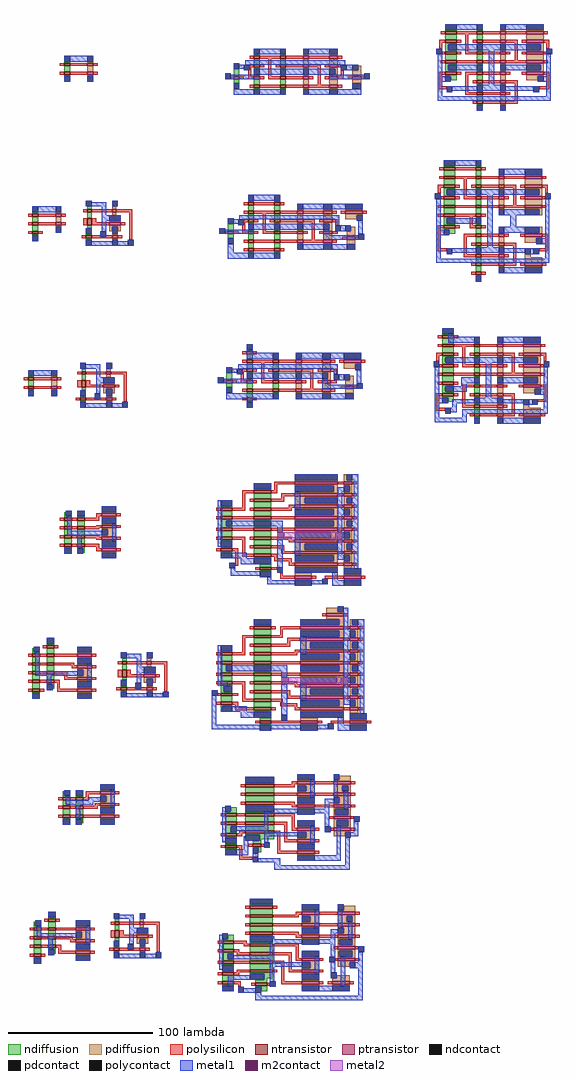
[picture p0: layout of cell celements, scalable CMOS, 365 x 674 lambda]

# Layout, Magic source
magic
tech scmos
use s_c2 s_c2_0
transform 1 0 92 0 1 -257
box -87 290 -59 310
use m_c2 m_c2_0
transform 1 0 241 0 1 -301
box -122 325 -20 359
use l_c2 l_c2_0
transform 1 0 291 0 1 1
box -25 12 55 74
use s_c2_rhi s_c2_rhi_0
transform 1 0 11 0 1 -139
box -28 60 46 91
use m_c2_rhi m_c2_rhi_0
transform 1 0 155 0 1 -99
box -40 10 64 56
use l_c2_rhi l_c2_rhi_0
transform 1 0 187 0 1 -79
box 78 -26 158 60
use s_c2_phi s_c2_phi_0
transform 1 0 -22 0 1 -266
box 2 75 75 106
use m_c2_phi m_c2_phi_0
transform 1 0 124 0 1 -211
box -10 19 94 65
use l_c2_phi l_c2_phi_0
transform 1 0 155 0 1 -277
box 109 74 189 142
use s_2and2c2 s_2and2c2_0
transform 1 0 54 0 1 -394
box -50 98 -5 136
use m_2and2c2 m_2and2c2_0
transform 1 0 112 0 1 -350
box 2 36 106 114
use s_2and2c2_rhi s_2and2c2_rhi_0
transform 1 0 36 0 1 -488
box -53 94 45 139
use m_2and2c2_rhi m_2and2c2_rhi_0
transform 1 0 116 0 1 -450
box -6 35 106 122
use s_and2c2 s_and2c2_0
transform 1 0 66 0 1 -1052
box -64 572 -18 602
use m_and2c2 m_and2c2_0
transform 1 0 112 0 1 -561
box 5 50 101 118
use s_and2c2_rhi s_and2c2_rhi_0
transform 1 0 49 0 1 -1146
box -65 570 27 608
use m_and2c2_rhi m_and2c2_rhi_0
transform 1 0 116 0 1 -651
box -2 50 100 122
<< end >>

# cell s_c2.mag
magic
tech scmos
<< ndiffusion >>
rect -83 304 -79 305
rect -83 298 -79 302
rect -83 295 -79 296
<< pdiffusion >>
rect -67 304 -63 305
rect -67 298 -63 302
rect -67 295 -63 296
<< ntransistor >>
rect -83 302 -79 304
rect -83 296 -79 298
<< ptransistor >>
rect -67 302 -63 304
rect -67 296 -63 298
<< polysilicon >>
rect -86 302 -83 304
rect -79 302 -67 304
rect -63 302 -60 304
rect -86 296 -83 298
rect -79 296 -67 298
rect -63 296 -60 298
<< ndcontact >>
rect -83 305 -79 309
rect -83 291 -79 295
<< pdcontact >>
rect -67 305 -63 309
rect -67 291 -63 295
<< metal1 >>
rect -83 305 -63 309
rect -83 291 -79 295
rect -67 291 -63 295
<< labels >>
rlabel polysilicon -84 297 -84 297 3 a
rlabel polysilicon -84 303 -84 303 3 b
rlabel space -87 290 -83 310 7 ^n
rlabel space -63 290 -59 310 3 ^p
rlabel polysilicon -62 297 -62 297 3 a
rlabel polysilicon -62 303 -62 303 3 b
rlabel ndcontact -81 307 -81 307 1 x
rlabel ndcontact -81 293 -81 293 1 GND!
rlabel pdcontact -65 307 -65 307 1 x
rlabel pdcontact -65 293 -65 293 1 Vdd!
<< end >>

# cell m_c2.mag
magic
tech scmos
<< ndiffusion >>
rect -101 353 -97 354
rect -83 353 -79 354
rect -101 347 -97 351
rect -115 339 -111 344
rect -101 344 -97 345
rect -101 339 -97 340
rect -83 347 -79 351
rect -83 344 -79 345
rect -83 339 -79 340
rect -115 334 -111 337
rect -101 333 -97 337
rect -83 333 -79 337
rect -101 330 -97 331
rect -83 330 -79 331
<< pdiffusion >>
rect -67 353 -63 354
rect -49 353 -43 354
rect -67 347 -63 351
rect -49 347 -43 351
rect -67 344 -63 345
rect -67 339 -63 340
rect -67 333 -63 337
rect -49 344 -43 345
rect -45 340 -43 344
rect -49 339 -43 340
rect -29 343 -27 346
rect -33 339 -27 343
rect -49 333 -43 337
rect -33 334 -27 337
rect -67 330 -63 331
rect -49 330 -43 331
<< ntransistor >>
rect -101 351 -97 353
rect -83 351 -79 353
rect -101 345 -97 347
rect -83 345 -79 347
rect -115 337 -111 339
rect -101 337 -97 339
rect -83 337 -79 339
rect -101 331 -97 333
rect -83 331 -79 333
<< ptransistor >>
rect -67 351 -63 353
rect -49 351 -43 353
rect -67 345 -63 347
rect -49 345 -43 347
rect -67 337 -63 339
rect -49 337 -43 339
rect -33 337 -27 339
rect -67 331 -63 333
rect -49 331 -43 333
<< polysilicon >>
rect -104 351 -101 353
rect -97 351 -83 353
rect -79 351 -67 353
rect -63 351 -49 353
rect -43 351 -40 353
rect -104 345 -101 347
rect -97 345 -94 347
rect -104 343 -103 345
rect -105 339 -103 343
rect -91 339 -89 351
rect -86 345 -83 347
rect -79 345 -67 347
rect -63 345 -55 347
rect -52 345 -49 347
rect -43 345 -41 347
rect -117 337 -115 339
rect -111 337 -108 339
rect -105 337 -101 339
rect -97 337 -94 339
rect -91 337 -83 339
rect -79 337 -67 339
rect -63 337 -60 339
rect -57 333 -55 345
rect -41 339 -39 343
rect -52 337 -49 339
rect -43 337 -39 339
rect -36 337 -33 339
rect -27 337 -25 339
rect -104 331 -101 333
rect -97 331 -83 333
rect -79 331 -67 333
rect -63 331 -49 333
rect -43 331 -40 333
<< ndcontact >>
rect -101 354 -97 358
rect -83 354 -79 358
rect -115 344 -111 348
rect -101 340 -97 344
rect -83 340 -79 344
rect -115 330 -111 334
rect -101 326 -97 330
rect -83 326 -79 330
<< pdcontact >>
rect -67 354 -63 358
rect -49 354 -43 358
rect -67 340 -63 344
rect -49 340 -45 344
rect -33 343 -29 347
rect -67 326 -63 330
rect -33 330 -27 334
rect -49 326 -43 330
<< polycontact >>
rect -121 337 -117 341
rect -108 343 -104 347
rect -41 343 -37 347
rect -25 337 -21 341
<< metal1 >>
rect -101 354 -79 358
rect -67 354 -43 358
rect -115 347 -111 348
rect -107 347 -38 350
rect -115 344 -104 347
rect -108 343 -104 344
rect -121 340 -117 341
rect -101 340 -45 344
rect -41 343 -29 347
rect -25 340 -21 341
rect -121 337 -97 340
rect -49 337 -21 340
rect -115 330 -111 334
rect -33 330 -27 334
rect -115 326 -79 330
rect -67 326 -27 330
<< labels >>
rlabel polysilicon -102 352 -102 352 3 b
rlabel polysilicon -102 332 -102 332 1 a
rlabel polysilicon -42 332 -42 332 1 a
rlabel polysilicon -42 352 -42 352 1 b
rlabel space -64 325 -20 359 3 ^p
rlabel space -122 325 -82 359 7 ^n
rlabel ndcontact -81 342 -81 342 1 x
rlabel ndcontact -81 328 -81 328 1 GND!
rlabel pdcontact -65 342 -65 342 1 x
rlabel pdcontact -65 328 -65 328 1 Vdd!
rlabel ndcontact -81 356 -81 356 5 GND!
rlabel pdcontact -65 356 -65 356 5 Vdd!
rlabel ndcontact -99 328 -99 328 1 GND!
rlabel ndcontact -99 356 -99 356 5 GND!
rlabel pdcontact -47 342 -47 342 1 x
rlabel pdcontact -46 328 -46 328 1 Vdd!
rlabel pdcontact -46 356 -46 356 5 Vdd!
rlabel pdcontact -30 332 -30 332 3 Vdd!
rlabel polycontact -23 339 -23 339 7 x
rlabel ndcontact -99 342 -99 342 1 x
rlabel ndcontact -113 332 -113 332 1 GND!
rlabel polycontact -119 339 -119 339 3 x
<< end >>

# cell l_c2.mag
magic
tech scmos
<< ndiffusion >>
rect -19 68 -11 69
rect 3 68 7 69
rect -19 62 -11 66
rect -19 59 -11 60
rect -19 55 -17 59
rect -19 54 -11 55
rect 3 62 7 66
rect 3 59 7 60
rect 3 54 7 55
rect -19 48 -11 52
rect 3 48 7 52
rect -19 45 -11 46
rect -19 41 -17 45
rect -19 40 -11 41
rect 3 45 7 46
rect 3 40 7 41
rect -19 37 -11 38
rect -15 34 -11 37
rect 3 34 7 38
rect 3 31 7 32
rect 3 26 7 27
rect 3 20 7 24
rect 3 17 7 18
<< pdiffusion >>
rect 19 68 23 69
rect 37 68 49 69
rect 19 62 23 66
rect 37 62 49 66
rect 19 59 23 60
rect 19 54 23 55
rect 19 48 23 52
rect 37 59 49 60
rect 47 55 49 59
rect 37 54 49 55
rect 37 48 49 52
rect 19 45 23 46
rect 19 40 23 41
rect 37 45 49 46
rect 47 41 49 45
rect 37 40 49 41
rect 19 34 23 38
rect 37 37 49 38
rect 37 34 45 37
rect 19 31 23 32
rect 19 26 23 27
rect 19 20 23 24
rect 19 17 23 18
<< ntransistor >>
rect -19 66 -11 68
rect 3 66 7 68
rect -19 60 -11 62
rect 3 60 7 62
rect -19 52 -11 54
rect 3 52 7 54
rect -19 46 -11 48
rect 3 46 7 48
rect -19 38 -11 40
rect 3 38 7 40
rect 3 32 7 34
rect 3 24 7 26
rect 3 18 7 20
<< ptransistor >>
rect 19 66 23 68
rect 37 66 49 68
rect 19 60 23 62
rect 37 60 49 62
rect 19 52 23 54
rect 37 52 49 54
rect 19 46 23 48
rect 37 46 49 48
rect 19 38 23 40
rect 37 38 49 40
rect 19 32 23 34
rect 19 24 23 26
rect 19 18 23 20
<< polysilicon >>
rect -22 66 -19 68
rect -11 66 3 68
rect 7 66 19 68
rect 23 66 37 68
rect 49 66 52 68
rect -23 60 -19 62
rect -11 60 -8 62
rect -23 56 -21 60
rect -5 54 -3 66
rect 0 60 3 62
rect 7 60 19 62
rect 23 60 31 62
rect 34 60 37 62
rect 49 60 53 62
rect -21 52 -19 54
rect -11 52 -8 54
rect -5 52 3 54
rect 7 52 19 54
rect 23 52 26 54
rect 29 48 31 60
rect 51 56 53 60
rect 34 52 37 54
rect 49 52 51 54
rect -22 46 -19 48
rect -11 46 3 48
rect 7 46 19 48
rect 23 46 37 48
rect 49 46 52 48
rect -23 38 -19 40
rect -11 38 -8 40
rect -5 38 3 40
rect 7 38 19 40
rect 23 38 26 40
rect 34 38 37 40
rect 49 38 53 40
rect -23 30 -21 38
rect -23 28 -18 30
rect -5 26 -3 38
rect 0 32 3 34
rect 7 32 19 34
rect 23 32 31 34
rect -5 24 3 26
rect 7 24 19 26
rect 23 24 26 26
rect 29 20 31 32
rect 51 30 53 38
rect 46 28 53 30
rect 0 18 3 20
rect 7 18 19 20
rect 23 18 31 20
<< ndcontact >>
rect -19 69 -11 73
rect 3 69 7 73
rect -17 55 -11 59
rect 3 55 7 59
rect -17 41 -11 45
rect 3 41 7 45
rect -19 33 -15 37
rect 3 27 7 31
rect 3 13 7 17
<< pdcontact >>
rect 19 69 23 73
rect 37 69 49 73
rect 19 55 23 59
rect 37 55 47 59
rect 19 41 23 45
rect 37 41 47 45
rect 45 33 49 37
rect 19 27 23 31
rect 19 13 23 17
<< polycontact >>
rect -25 52 -21 56
rect 51 52 55 56
rect -18 26 -14 30
rect 42 26 46 30
<< metal1 >>
rect -19 69 7 73
rect 19 69 49 73
rect -25 52 -21 56
rect -17 55 47 59
rect -24 37 -21 52
rect -17 41 7 45
rect -24 33 -15 37
rect -24 23 -21 33
rect 11 31 15 55
rect 51 52 55 56
rect 19 41 47 45
rect 51 37 54 52
rect 45 33 54 37
rect 3 30 23 31
rect -18 27 46 30
rect -18 26 -14 27
rect 42 26 46 27
rect 51 23 54 33
rect -24 20 54 23
rect 3 13 7 17
rect 19 13 23 17
<< labels >>
rlabel polysilicon 2 39 2 39 3 b
rlabel polysilicon 2 53 2 53 3 b
rlabel polysilicon 2 67 2 67 3 b
rlabel polysilicon 2 25 2 25 3 b
rlabel polysilicon 2 61 2 61 3 a
rlabel polysilicon 2 47 2 47 3 a
rlabel polysilicon 2 19 2 19 3 a
rlabel polysilicon 2 33 2 33 3 a
rlabel polysilicon 24 39 24 39 3 b
rlabel polysilicon 24 53 24 53 3 b
rlabel polysilicon 24 67 24 67 3 b
rlabel polysilicon 24 25 24 25 3 b
rlabel polysilicon 24 61 24 61 3 a
rlabel polysilicon 24 47 24 47 3 a
rlabel polysilicon 24 19 24 19 3 a
rlabel polysilicon 24 33 24 33 3 a
rlabel polysilicon 36 39 36 39 5 x
rlabel polysilicon -10 39 -10 39 5 x
rlabel space -25 12 4 74 7 ^n
rlabel space 22 12 55 74 3 ^p
rlabel ndcontact 5 71 5 71 5 GND!
rlabel ndcontact 5 15 5 15 1 GND!
rlabel ndcontact 5 57 5 57 1 x
rlabel ndcontact 5 29 5 29 1 x
rlabel ndcontact 5 43 5 43 1 GND!
rlabel pdcontact 21 15 21 15 1 Vdd!
rlabel pdcontact 21 71 21 71 5 Vdd!
rlabel pdcontact 21 57 21 57 1 x
rlabel pdcontact 21 29 21 29 1 x
rlabel pdcontact 21 43 21 43 1 Vdd!
rlabel pdcontact 42 43 42 43 1 Vdd!
rlabel pdcontact 42 57 42 57 1 x
rlabel pdcontact 43 71 43 71 5 Vdd!
rlabel ndcontact -15 71 -15 71 5 GND!
rlabel ndcontact -14 43 -14 43 1 GND!
rlabel ndcontact -14 57 -14 57 1 x
<< end >>

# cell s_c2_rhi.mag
magic
tech scmos
<< ndiffusion >>
rect -24 82 -20 83
rect 14 85 17 87
rect -24 76 -20 80
rect 14 79 17 83
rect -24 70 -20 74
rect 14 72 17 74
rect -24 67 -20 68
rect 13 67 17 68
rect 13 64 17 65
<< pdiffusion >>
rect 31 85 34 87
rect -8 82 -4 83
rect -8 76 -4 80
rect 31 81 34 83
rect 29 76 37 77
rect -8 73 -4 74
rect 29 73 37 74
rect 29 70 31 73
rect 35 70 37 73
rect 31 67 35 68
rect 31 64 35 65
<< ntransistor >>
rect 14 83 17 85
rect -24 80 -20 82
rect -24 74 -20 76
rect 14 74 17 79
rect -24 68 -20 70
rect 13 65 17 67
<< ptransistor >>
rect 31 83 34 85
rect -8 80 -4 82
rect -8 74 -4 76
rect 29 74 37 76
rect 31 65 35 67
<< polysilicon >>
rect 11 83 14 85
rect 17 83 31 85
rect 34 83 45 85
rect -27 80 -24 82
rect -20 80 -8 82
rect -4 80 -1 82
rect -27 74 -24 76
rect -20 74 -8 76
rect -4 74 -1 76
rect 11 74 14 79
rect 17 76 20 79
rect 17 74 29 76
rect 37 74 40 76
rect -27 68 -24 70
rect -20 68 -17 70
rect 10 65 13 67
rect 17 66 23 67
rect 27 66 31 67
rect 17 65 31 66
rect 35 65 38 67
rect 43 64 45 83
<< ndcontact >>
rect 13 87 17 91
rect -24 83 -20 87
rect 13 68 17 72
rect -24 63 -20 67
rect 13 60 17 64
<< pdcontact >>
rect -8 83 -4 87
rect 31 87 35 91
rect 29 77 37 81
rect -8 69 -4 73
rect 31 68 35 73
rect 31 60 35 64
<< polycontact >>
rect 23 66 27 70
rect 42 60 46 64
<< metal1 >>
rect 13 90 17 91
rect 13 87 27 90
rect 31 87 35 91
rect -24 83 -4 87
rect 24 81 27 87
rect 24 77 37 81
rect -8 69 -4 73
rect 13 68 17 72
rect 24 70 27 77
rect -24 63 -20 67
rect 23 66 27 70
rect 31 68 35 73
rect 13 63 17 64
rect 31 63 35 64
rect 42 63 46 64
rect 13 60 46 63
<< labels >>
rlabel polysilicon -25 75 -25 75 3 a
rlabel polysilicon -25 81 -25 81 3 b
rlabel polysilicon -25 69 -25 69 1 _SReset!
rlabel space -28 62 -24 88 7 ^n
rlabel space -4 68 0 88 3 ^p
rlabel polysilicon -3 75 -3 75 3 a
rlabel polysilicon -3 81 -3 81 3 b
rlabel polysilicon 13 75 13 75 1 _PReset!
rlabel ndcontact -22 85 -22 85 1 x
rlabel pdcontact -6 85 -6 85 1 x
rlabel pdcontact -6 71 -6 71 1 Vdd!
rlabel ndcontact -22 65 -22 65 1 GND!
rlabel pdcontact 33 70 33 70 1 Vdd!
rlabel ndcontact 15 70 15 70 1 GND!
rlabel pdcontact 33 79 33 79 1 x
rlabel pdcontact 33 89 33 89 1 Vdd!
rlabel ndcontact 15 89 15 89 5 x
<< end >>

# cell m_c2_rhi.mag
magic
tech scmos
<< ndiffusion >>
rect -19 50 -15 51
rect -1 50 3 51
rect -19 44 -15 48
rect -1 44 3 48
rect -19 38 -15 42
rect -33 30 -29 35
rect -19 35 -15 36
rect -19 30 -15 31
rect -1 38 3 42
rect -1 35 3 36
rect -1 30 3 31
rect -33 25 -29 28
rect -19 24 -15 28
rect -1 24 3 28
rect -19 18 -15 22
rect -1 18 3 22
rect -19 15 -15 16
rect -1 15 3 16
<< pdiffusion >>
rect 15 44 19 45
rect 33 44 39 45
rect 48 44 60 45
rect 15 38 19 42
rect 33 38 39 42
rect 48 41 60 42
rect 48 38 56 41
rect 15 35 19 36
rect 15 30 19 31
rect 15 24 19 28
rect 33 35 39 36
rect 37 31 39 35
rect 33 30 39 31
rect 52 30 55 33
rect 33 24 39 28
rect 49 26 55 30
rect 15 21 19 22
rect 33 21 39 22
rect 49 21 55 24
<< ntransistor >>
rect -19 48 -15 50
rect -1 48 3 50
rect -19 42 -15 44
rect -1 42 3 44
rect -19 36 -15 38
rect -1 36 3 38
rect -33 28 -29 30
rect -19 28 -15 30
rect -1 28 3 30
rect -19 22 -15 24
rect -1 22 3 24
rect -19 16 -15 18
rect -1 16 3 18
<< ptransistor >>
rect 15 42 19 44
rect 33 42 39 44
rect 48 42 60 44
rect 15 36 19 38
rect 33 36 39 38
rect 15 28 19 30
rect 33 28 39 30
rect 49 24 55 26
rect 15 22 19 24
rect 33 22 39 24
<< polysilicon >>
rect -22 48 -19 50
rect -15 48 -1 50
rect 3 48 6 50
rect -22 42 -19 44
rect -15 42 -1 44
rect 3 42 15 44
rect 19 42 33 44
rect 39 42 42 44
rect 45 42 48 44
rect 60 42 63 44
rect -22 36 -19 38
rect -15 36 -12 38
rect -22 34 -21 36
rect -23 30 -21 34
rect -9 30 -7 42
rect -4 36 -1 38
rect 3 36 15 38
rect 19 36 27 38
rect 30 36 33 38
rect 39 36 43 38
rect -35 28 -33 30
rect -29 28 -26 30
rect -23 28 -19 30
rect -15 28 -12 30
rect -9 28 -1 30
rect 3 28 15 30
rect 19 28 22 30
rect 25 24 27 36
rect 41 34 43 36
rect 30 28 33 30
rect 39 28 43 30
rect 46 24 49 26
rect 55 24 57 26
rect -22 22 -19 24
rect -15 22 -1 24
rect 3 22 15 24
rect 19 22 33 24
rect 39 22 42 24
rect -22 16 -19 18
rect -15 16 -1 18
rect 3 16 6 18
<< ndcontact >>
rect -19 51 -15 55
rect -1 51 3 55
rect -33 35 -29 39
rect -19 31 -15 35
rect -1 31 3 35
rect -33 21 -29 25
rect -19 11 -15 15
rect -1 11 3 15
<< pdcontact >>
rect 15 45 19 49
rect 33 45 39 49
rect 48 45 60 49
rect 56 37 60 41
rect 15 31 19 35
rect 33 31 37 35
rect 48 30 52 34
rect 15 17 19 21
rect 33 17 39 21
rect 49 17 55 21
<< polycontact >>
rect -39 28 -35 32
rect -26 34 -22 38
rect 41 30 45 34
rect 57 24 61 28
<< metal1 >>
rect -19 51 3 55
rect 15 45 60 49
rect -33 38 -29 39
rect -25 38 44 41
rect -33 35 -22 38
rect -26 34 -22 35
rect -39 31 -35 32
rect -19 31 37 35
rect -39 28 -15 31
rect 33 27 37 31
rect 41 34 44 38
rect 56 37 60 41
rect 41 30 52 34
rect 57 28 60 37
rect 57 27 61 28
rect -33 15 -29 25
rect 33 24 61 27
rect 15 17 55 21
rect -33 11 3 15
<< labels >>
rlabel polysilicon 40 43 40 43 1 b
rlabel polysilicon 40 23 40 23 1 a
rlabel polysilicon -20 43 -20 43 3 b
rlabel polysilicon -20 23 -20 23 1 a
rlabel polysilicon -20 49 -20 49 1 _SReset!
rlabel polysilicon -20 17 -20 17 1 _SReset!
rlabel polysilicon 61 43 61 43 1 _PReset!
rlabel space 18 16 64 50 3 ^p
rlabel space -40 10 0 56 7 ^n
rlabel pdcontact 35 33 35 33 1 x
rlabel pdcontact 36 19 36 19 1 Vdd!
rlabel pdcontact 36 47 36 47 1 Vdd!
rlabel ndcontact 1 33 1 33 1 x
rlabel ndcontact 1 13 1 13 1 GND!
rlabel pdcontact 17 33 17 33 1 x
rlabel pdcontact 17 19 17 19 1 Vdd!
rlabel ndcontact 1 53 1 53 5 GND!
rlabel pdcontact 17 47 17 47 1 Vdd!
rlabel ndcontact -17 53 -17 53 5 GND!
rlabel ndcontact -17 13 -17 13 1 GND!
rlabel pdcontact 54 47 54 47 5 Vdd!
rlabel pdcontact 58 39 58 39 7 x
rlabel pdcontact 52 19 52 19 3 Vdd!
rlabel polycontact 59 26 59 26 7 x
rlabel ndcontact -17 33 -17 33 1 x
rlabel ndcontact -31 23 -31 23 1 GND!
rlabel polycontact -37 30 -37 30 3 x
<< end >>

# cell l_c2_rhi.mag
magic
tech scmos
<< ndiffusion >>
rect 84 54 92 55
rect 106 54 110 55
rect 84 48 92 52
rect 106 48 110 52
rect 84 42 92 46
rect 84 39 92 40
rect 84 35 86 39
rect 84 34 92 35
rect 106 42 110 46
rect 106 39 110 40
rect 106 34 110 35
rect 84 28 92 32
rect 106 28 110 32
rect 84 22 92 26
rect 106 22 110 26
rect 84 19 92 20
rect 84 15 86 19
rect 84 14 92 15
rect 106 19 110 20
rect 106 14 110 15
rect 84 11 92 12
rect 88 8 92 11
rect 106 8 110 12
rect 106 2 110 6
rect 106 -1 110 0
rect 106 -6 110 -5
rect 106 -12 110 -8
rect 106 -18 110 -14
rect 106 -21 110 -20
<< pdiffusion >>
rect 122 48 126 49
rect 140 48 152 49
rect 122 42 126 46
rect 140 42 152 46
rect 122 39 126 40
rect 122 34 126 35
rect 122 28 126 32
rect 140 39 152 40
rect 150 35 152 39
rect 140 34 152 35
rect 140 28 152 32
rect 122 25 126 26
rect 140 25 152 26
rect 150 21 152 25
rect 122 8 126 9
rect 150 9 152 13
rect 140 8 152 9
rect 122 2 126 6
rect 140 5 152 6
rect 140 2 148 5
rect 122 -1 126 0
rect 122 -6 126 -5
rect 122 -12 126 -8
rect 140 -8 144 -6
rect 140 -12 152 -8
rect 122 -15 126 -14
rect 140 -15 152 -14
<< ntransistor >>
rect 84 52 92 54
rect 106 52 110 54
rect 84 46 92 48
rect 106 46 110 48
rect 84 40 92 42
rect 106 40 110 42
rect 84 32 92 34
rect 106 32 110 34
rect 84 26 92 28
rect 106 26 110 28
rect 84 20 92 22
rect 106 20 110 22
rect 84 12 92 14
rect 106 12 110 14
rect 106 6 110 8
rect 106 0 110 2
rect 106 -8 110 -6
rect 106 -14 110 -12
rect 106 -20 110 -18
<< ptransistor >>
rect 122 46 126 48
rect 140 46 152 48
rect 122 40 126 42
rect 140 40 152 42
rect 122 32 126 34
rect 140 32 152 34
rect 122 26 126 28
rect 140 26 152 28
rect 122 6 126 8
rect 140 6 152 8
rect 122 0 126 2
rect 122 -8 126 -6
rect 122 -14 126 -12
rect 140 -14 152 -12
<< polysilicon >>
rect 81 52 84 54
rect 92 52 106 54
rect 110 52 113 54
rect 81 46 84 48
rect 92 46 106 48
rect 110 46 122 48
rect 126 46 140 48
rect 152 46 155 48
rect 80 40 84 42
rect 92 40 95 42
rect 80 36 82 40
rect 98 34 100 46
rect 103 40 106 42
rect 110 40 122 42
rect 126 40 134 42
rect 137 40 140 42
rect 152 40 156 42
rect 82 32 84 34
rect 92 32 95 34
rect 98 32 106 34
rect 110 32 122 34
rect 126 32 129 34
rect 132 28 134 40
rect 154 36 156 40
rect 137 32 140 34
rect 152 32 154 34
rect 80 26 84 28
rect 92 26 106 28
rect 110 26 122 28
rect 126 26 140 28
rect 152 26 155 28
rect 80 20 84 22
rect 92 20 106 22
rect 110 20 113 22
rect 102 14 104 20
rect 80 12 84 14
rect 92 12 95 14
rect 102 12 106 14
rect 110 12 113 14
rect 80 -2 82 12
rect 98 6 106 8
rect 110 6 122 8
rect 126 6 129 8
rect 137 6 140 8
rect 152 6 156 8
rect 80 -4 86 -2
rect 98 -6 100 6
rect 103 0 106 2
rect 110 0 122 2
rect 126 0 134 2
rect 98 -8 106 -6
rect 110 -8 122 -6
rect 126 -8 129 -6
rect 132 -12 134 0
rect 154 -2 156 6
rect 150 -4 156 -2
rect 103 -14 106 -12
rect 110 -14 122 -12
rect 126 -14 134 -12
rect 137 -14 140 -12
rect 152 -14 155 -12
rect 103 -20 106 -18
rect 110 -20 113 -18
<< ndcontact >>
rect 84 55 92 59
rect 106 55 110 59
rect 86 35 92 39
rect 106 35 110 39
rect 86 15 92 19
rect 106 15 110 19
rect 84 7 88 11
rect 106 -5 110 -1
rect 106 -25 110 -21
<< pdcontact >>
rect 122 49 126 53
rect 140 49 152 53
rect 122 35 126 39
rect 140 35 150 39
rect 122 21 126 25
rect 140 21 150 25
rect 122 9 126 13
rect 140 9 150 13
rect 148 1 152 5
rect 122 -5 126 -1
rect 140 -6 144 -2
rect 122 -19 126 -15
rect 140 -19 152 -15
<< polycontact >>
rect 78 32 82 36
rect 154 32 158 36
rect 86 -6 90 -2
rect 146 -6 150 -2
<< metal1 >>
rect 84 55 110 59
rect 122 49 152 53
rect 78 32 82 36
rect 86 35 150 39
rect 79 11 82 32
rect 86 15 110 19
rect 79 7 88 11
rect 79 -9 82 7
rect 114 -1 118 35
rect 154 32 158 36
rect 122 21 150 25
rect 130 13 134 21
rect 122 9 150 13
rect 154 5 157 32
rect 148 1 157 5
rect 106 -2 126 -1
rect 86 -5 150 -2
rect 86 -6 90 -5
rect 140 -6 150 -5
rect 154 -9 157 1
rect 79 -12 157 -9
rect 122 -19 152 -15
rect 106 -25 110 -21
<< labels >>
rlabel polysilicon 105 33 105 33 3 b
rlabel polysilicon 105 47 105 47 3 b
rlabel polysilicon 105 41 105 41 3 a
rlabel polysilicon 105 27 105 27 3 a
rlabel polysilicon 105 7 105 7 3 b
rlabel polysilicon 105 -7 105 -7 3 b
rlabel polysilicon 105 -13 105 -13 3 a
rlabel polysilicon 105 1 105 1 3 a
rlabel polysilicon 105 -19 105 -19 1 _SReset!
rlabel polysilicon 127 1 127 1 3 a
rlabel polysilicon 127 -13 127 -13 3 a
rlabel polysilicon 127 -7 127 -7 3 b
rlabel polysilicon 127 7 127 7 3 b
rlabel polysilicon 127 27 127 27 3 a
rlabel polysilicon 127 41 127 41 3 a
rlabel polysilicon 127 47 127 47 3 b
rlabel polysilicon 127 33 127 33 3 b
rlabel polysilicon 83 53 83 53 3 _SReset!
rlabel polysilicon 93 13 93 13 5 x
rlabel polysilicon 153 -13 153 -13 7 _PReset!
rlabel polysilicon 139 7 139 7 5 x
rlabel space 78 -26 107 60 7 ^n
rlabel space 125 -20 158 54 3 ^p
rlabel polysilicon 104 13 104 13 1 _SReset!
rlabel polysilicon 82 21 82 21 1 _SReset!
rlabel ndcontact 108 17 108 17 1 GND!
rlabel ndcontact 108 37 108 37 1 x
rlabel ndcontact 108 57 108 57 5 GND!
rlabel ndcontact 108 -3 108 -3 1 x
rlabel ndcontact 108 -23 108 -23 1 GND!
rlabel pdcontact 124 37 124 37 1 x
rlabel pdcontact 124 -3 124 -3 1 x
rlabel pdcontact 124 23 124 23 1 Vdd!
rlabel pdcontact 124 11 124 11 1 Vdd!
rlabel pdcontact 124 -17 124 -17 1 Vdd!
rlabel pdcontact 124 51 124 51 5 Vdd!
rlabel ndcontact 88 57 88 57 5 GND!
rlabel ndcontact 89 37 89 37 1 x
rlabel ndcontact 89 17 89 17 1 GND!
rlabel pdcontact 146 -17 146 -17 1 Vdd!
rlabel pdcontact 145 11 145 11 1 Vdd!
rlabel pdcontact 145 23 145 23 1 Vdd!
rlabel pdcontact 145 37 145 37 1 x
rlabel pdcontact 146 51 146 51 5 Vdd!
<< end >>

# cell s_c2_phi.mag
magic
tech scmos
<< ndiffusion >>
rect 6 96 10 97
rect 43 100 46 102
rect 43 94 46 98
rect 6 90 10 94
rect 6 87 10 88
rect 43 87 46 89
rect 42 82 46 83
rect 42 79 46 80
<< pdiffusion >>
rect 60 100 63 102
rect 22 96 26 97
rect 60 96 63 98
rect 22 90 26 94
rect 58 91 66 92
rect 22 87 26 88
rect 58 88 66 89
rect 58 85 60 88
rect 64 85 66 88
rect 60 82 64 83
rect 60 79 64 80
<< ntransistor >>
rect 43 98 46 100
rect 6 94 10 96
rect 6 88 10 90
rect 43 89 46 94
rect 42 80 46 82
<< ptransistor >>
rect 60 98 63 100
rect 22 94 26 96
rect 22 88 26 90
rect 58 89 66 91
rect 60 80 64 82
<< polysilicon >>
rect 40 98 43 100
rect 46 98 60 100
rect 63 98 74 100
rect 3 94 6 96
rect 10 94 22 96
rect 26 94 29 96
rect 3 88 6 90
rect 10 88 22 90
rect 26 88 29 90
rect 40 89 43 94
rect 46 91 49 94
rect 46 89 58 91
rect 66 89 69 91
rect 39 80 42 82
rect 46 81 52 82
rect 56 81 60 82
rect 46 80 60 81
rect 64 80 67 82
rect 72 79 74 98
<< ndcontact >>
rect 42 102 46 106
rect 6 97 10 101
rect 6 83 10 87
rect 42 83 46 87
rect 42 75 46 79
<< pdcontact >>
rect 22 97 26 101
rect 60 102 64 106
rect 58 92 66 96
rect 22 83 26 87
rect 60 83 64 88
rect 60 75 64 79
<< polycontact >>
rect 52 81 56 85
rect 71 75 75 79
<< metal1 >>
rect 42 105 46 106
rect 42 102 56 105
rect 60 102 64 106
rect 6 97 26 101
rect 53 96 56 102
rect 53 92 66 96
rect 6 83 10 87
rect 22 83 26 87
rect 42 83 46 87
rect 53 85 56 92
rect 52 81 56 85
rect 60 83 64 88
rect 42 78 46 79
rect 60 78 64 79
rect 71 78 75 79
rect 42 75 75 78
<< labels >>
rlabel polysilicon 5 89 5 89 3 a
rlabel polysilicon 5 95 5 95 3 b
rlabel space 2 82 6 102 7 ^n
rlabel space 26 82 30 102 3 ^p
rlabel polysilicon 27 89 27 89 3 a
rlabel polysilicon 27 95 27 95 3 b
rlabel polysilicon 42 90 42 90 1 _PReset!
rlabel ndcontact 8 99 8 99 1 x
rlabel ndcontact 8 85 8 85 1 GND!
rlabel pdcontact 24 99 24 99 1 x
rlabel pdcontact 24 85 24 85 1 Vdd!
rlabel pdcontact 62 85 62 85 1 Vdd!
rlabel ndcontact 44 85 44 85 1 GND!
rlabel pdcontact 62 94 62 94 1 x
rlabel pdcontact 62 104 62 104 1 Vdd!
rlabel ndcontact 44 104 44 104 5 x
<< end >>

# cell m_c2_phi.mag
magic
tech scmos
<< ndiffusion >>
rect 11 59 15 60
rect 11 53 15 57
rect 29 53 33 54
rect 11 47 15 51
rect -3 39 1 44
rect 11 44 15 45
rect 11 39 15 40
rect 29 47 33 51
rect 29 44 33 45
rect 29 39 33 40
rect -3 34 1 37
rect 11 33 15 37
rect 29 33 33 37
rect 11 27 15 31
rect 29 30 33 31
rect 11 24 15 25
<< pdiffusion >>
rect 45 53 49 54
rect 63 53 69 54
rect 78 53 90 54
rect 45 47 49 51
rect 63 47 69 51
rect 78 50 90 51
rect 78 47 86 50
rect 45 44 49 45
rect 45 39 49 40
rect 45 33 49 37
rect 63 44 69 45
rect 67 40 69 44
rect 63 39 69 40
rect 82 39 85 42
rect 63 33 69 37
rect 79 35 85 39
rect 45 30 49 31
rect 63 30 69 31
rect 79 30 85 33
<< ntransistor >>
rect 11 57 15 59
rect 11 51 15 53
rect 29 51 33 53
rect 11 45 15 47
rect 29 45 33 47
rect -3 37 1 39
rect 11 37 15 39
rect 29 37 33 39
rect 11 31 15 33
rect 29 31 33 33
rect 11 25 15 27
<< ptransistor >>
rect 45 51 49 53
rect 63 51 69 53
rect 78 51 90 53
rect 45 45 49 47
rect 63 45 69 47
rect 45 37 49 39
rect 63 37 69 39
rect 79 33 85 35
rect 45 31 49 33
rect 63 31 69 33
<< polysilicon >>
rect 8 57 11 59
rect 15 57 18 59
rect 8 51 11 53
rect 15 51 29 53
rect 33 51 45 53
rect 49 51 63 53
rect 69 51 72 53
rect 75 51 78 53
rect 90 51 93 53
rect 8 45 11 47
rect 15 45 18 47
rect 8 43 9 45
rect 7 39 9 43
rect 21 39 23 51
rect 26 45 29 47
rect 33 45 45 47
rect 49 45 57 47
rect 60 45 63 47
rect 69 45 73 47
rect -5 37 -3 39
rect 1 37 4 39
rect 7 37 11 39
rect 15 37 18 39
rect 21 37 29 39
rect 33 37 45 39
rect 49 37 52 39
rect 55 33 57 45
rect 71 43 73 45
rect 60 37 63 39
rect 69 37 73 39
rect 76 33 79 35
rect 85 33 87 35
rect 8 31 11 33
rect 15 31 29 33
rect 33 31 45 33
rect 49 31 63 33
rect 69 31 72 33
rect 8 25 11 27
rect 15 25 18 27
<< ndcontact >>
rect 11 60 15 64
rect 29 54 33 58
rect -3 44 1 48
rect 11 40 15 44
rect 29 40 33 44
rect -3 30 1 34
rect 29 26 33 30
rect 11 20 15 24
<< pdcontact >>
rect 45 54 49 58
rect 63 54 69 58
rect 78 54 90 58
rect 86 46 90 50
rect 45 40 49 44
rect 63 40 67 44
rect 78 39 82 43
rect 45 26 49 30
rect 63 26 69 30
rect 79 26 85 30
<< polycontact >>
rect -9 37 -5 41
rect 4 43 8 47
rect 71 39 75 43
rect 87 33 91 37
<< metal1 >>
rect 11 58 15 64
rect 11 54 33 58
rect 45 54 90 58
rect -3 47 1 48
rect 5 47 74 50
rect -3 44 8 47
rect 4 43 8 44
rect -9 40 -5 41
rect 11 40 67 44
rect -9 37 15 40
rect 63 36 67 40
rect 71 43 74 47
rect 86 46 90 50
rect 71 39 82 43
rect 87 37 90 46
rect 87 36 91 37
rect -3 30 1 34
rect 63 33 91 36
rect -3 26 33 30
rect 45 26 85 30
rect 11 20 15 26
<< labels >>
rlabel polysilicon 70 52 70 52 1 b
rlabel polysilicon 70 32 70 32 1 a
rlabel polysilicon 10 52 10 52 3 b
rlabel polysilicon 10 32 10 32 1 a
rlabel polysilicon 10 58 10 58 1 _SReset!
rlabel polysilicon 10 26 10 26 1 _SReset!
rlabel polysilicon 91 52 91 52 1 _PReset!
rlabel space 48 25 94 59 3 ^p
rlabel space -10 19 30 65 7 ^n
rlabel pdcontact 65 42 65 42 1 x
rlabel pdcontact 66 28 66 28 1 Vdd!
rlabel pdcontact 66 56 66 56 1 Vdd!
rlabel ndcontact 31 42 31 42 1 x
rlabel pdcontact 47 42 47 42 1 x
rlabel pdcontact 47 28 47 28 1 Vdd!
rlabel pdcontact 47 56 47 56 1 Vdd!
rlabel ndcontact 13 62 13 62 5 GND!
rlabel ndcontact 13 22 13 22 1 GND!
rlabel pdcontact 84 56 84 56 5 Vdd!
rlabel pdcontact 88 48 88 48 7 x
rlabel ndcontact 31 56 31 56 5 GND!
rlabel ndcontact 31 28 31 28 1 GND!
rlabel ndcontact 13 42 13 42 1 x
rlabel ndcontact -1 32 -1 32 1 GND!
rlabel polycontact -7 39 -7 39 3 x
rlabel pdcontact 82 28 82 28 3 Vdd!
rlabel polycontact 89 35 89 35 7 x
<< end >>

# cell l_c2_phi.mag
magic
tech scmos
<< ndiffusion >>
rect 115 136 123 137
rect 115 130 123 134
rect 137 130 141 131
rect 115 124 123 128
rect 115 121 123 122
rect 115 117 117 121
rect 115 116 123 117
rect 137 124 141 128
rect 137 121 141 122
rect 137 116 141 117
rect 115 110 123 114
rect 137 110 141 114
rect 115 104 123 108
rect 137 107 141 108
rect 137 102 141 103
rect 115 101 123 102
rect 115 97 117 101
rect 115 96 123 97
rect 115 93 123 94
rect 119 90 123 93
rect 137 96 141 100
rect 137 93 141 94
rect 137 88 141 89
rect 137 82 141 86
rect 137 79 141 80
<< pdiffusion >>
rect 153 130 157 131
rect 171 130 183 131
rect 153 124 157 128
rect 171 124 183 128
rect 153 121 157 122
rect 153 116 157 117
rect 153 110 157 114
rect 171 121 183 122
rect 181 117 183 121
rect 171 116 183 117
rect 171 110 183 114
rect 153 107 157 108
rect 153 102 157 103
rect 171 107 183 108
rect 181 103 183 107
rect 171 102 183 103
rect 153 96 157 100
rect 171 99 183 100
rect 171 96 179 99
rect 153 93 157 94
rect 153 88 157 89
rect 153 82 157 86
rect 171 86 175 88
rect 171 82 183 86
rect 153 79 157 80
rect 171 79 183 80
<< ntransistor >>
rect 115 134 123 136
rect 115 128 123 130
rect 137 128 141 130
rect 115 122 123 124
rect 137 122 141 124
rect 115 114 123 116
rect 137 114 141 116
rect 115 108 123 110
rect 137 108 141 110
rect 115 102 123 104
rect 137 100 141 102
rect 115 94 123 96
rect 137 94 141 96
rect 137 86 141 88
rect 137 80 141 82
<< ptransistor >>
rect 153 128 157 130
rect 171 128 183 130
rect 153 122 157 124
rect 171 122 183 124
rect 153 114 157 116
rect 171 114 183 116
rect 153 108 157 110
rect 171 108 183 110
rect 153 100 157 102
rect 171 100 183 102
rect 153 94 157 96
rect 153 86 157 88
rect 153 80 157 82
rect 171 80 183 82
<< polysilicon >>
rect 112 134 115 136
rect 123 134 126 136
rect 112 128 115 130
rect 123 128 137 130
rect 141 128 153 130
rect 157 128 171 130
rect 183 128 186 130
rect 111 122 115 124
rect 123 122 126 124
rect 111 118 113 122
rect 129 116 131 128
rect 134 122 137 124
rect 141 122 153 124
rect 157 122 165 124
rect 168 122 171 124
rect 183 122 187 124
rect 113 114 115 116
rect 123 114 126 116
rect 129 114 137 116
rect 141 114 153 116
rect 157 114 160 116
rect 163 110 165 122
rect 185 118 187 122
rect 168 114 171 116
rect 183 114 185 116
rect 112 108 115 110
rect 123 108 137 110
rect 141 108 153 110
rect 157 108 171 110
rect 183 108 186 110
rect 112 102 115 104
rect 123 102 126 104
rect 129 100 137 102
rect 141 100 153 102
rect 157 100 160 102
rect 168 100 171 102
rect 183 100 187 102
rect 111 94 115 96
rect 123 94 126 96
rect 111 86 113 94
rect 129 88 131 100
rect 134 94 137 96
rect 141 94 153 96
rect 157 94 165 96
rect 129 86 137 88
rect 141 86 153 88
rect 157 86 160 88
rect 111 84 117 86
rect 163 82 165 94
rect 185 92 187 100
rect 181 90 187 92
rect 134 80 137 82
rect 141 80 153 82
rect 157 80 165 82
rect 168 80 171 82
rect 183 80 186 82
<< ndcontact >>
rect 115 137 123 141
rect 137 131 141 135
rect 117 117 123 121
rect 137 117 141 121
rect 137 103 141 107
rect 117 97 123 101
rect 115 89 119 93
rect 137 89 141 93
rect 137 75 141 79
<< pdcontact >>
rect 153 131 157 135
rect 171 131 183 135
rect 153 117 157 121
rect 171 117 181 121
rect 153 103 157 107
rect 171 103 181 107
rect 179 95 183 99
rect 153 89 157 93
rect 171 88 175 92
rect 153 75 157 79
rect 171 75 183 79
<< polycontact >>
rect 109 114 113 118
rect 185 114 189 118
rect 117 82 121 86
rect 177 88 181 92
<< metal1 >>
rect 115 137 123 141
rect 119 135 123 137
rect 119 131 141 135
rect 153 131 183 135
rect 109 114 113 118
rect 117 117 181 121
rect 110 93 113 114
rect 128 103 141 107
rect 128 101 132 103
rect 117 97 132 101
rect 145 93 149 117
rect 185 114 189 118
rect 153 103 181 107
rect 185 99 188 114
rect 179 95 188 99
rect 110 89 119 93
rect 137 92 157 93
rect 122 89 181 92
rect 110 79 113 89
rect 122 86 125 89
rect 171 88 181 89
rect 117 83 125 86
rect 185 85 188 95
rect 117 82 121 83
rect 129 82 188 85
rect 129 79 132 82
rect 110 76 132 79
rect 137 75 141 79
rect 153 75 183 79
<< labels >>
rlabel polysilicon 170 101 170 101 5 x
rlabel polysilicon 184 81 184 81 7 _PReset!
rlabel polysilicon 158 101 158 101 3 b
rlabel polysilicon 158 115 158 115 3 b
rlabel polysilicon 158 129 158 129 3 b
rlabel polysilicon 158 87 158 87 3 b
rlabel polysilicon 158 123 158 123 3 a
rlabel polysilicon 158 109 158 109 3 a
rlabel polysilicon 158 81 158 81 3 a
rlabel polysilicon 158 95 158 95 3 a
rlabel polysilicon 136 95 136 95 3 a
rlabel polysilicon 136 81 136 81 3 a
rlabel polysilicon 136 109 136 109 3 a
rlabel polysilicon 136 123 136 123 3 a
rlabel polysilicon 136 87 136 87 3 b
rlabel polysilicon 136 129 136 129 3 b
rlabel polysilicon 136 115 136 115 3 b
rlabel polysilicon 136 101 136 101 3 b
rlabel polysilicon 114 103 114 103 1 _SReset!
rlabel polysilicon 124 95 124 95 5 x
rlabel polysilicon 114 135 114 135 3 _SReset!
rlabel space 109 74 138 142 7 ^n
rlabel space 156 74 189 136 3 ^p
rlabel pdcontact 177 133 177 133 5 Vdd!
rlabel pdcontact 177 77 177 77 1 Vdd!
rlabel pdcontact 176 105 176 105 1 Vdd!
rlabel pdcontact 176 119 176 119 1 x
rlabel pdcontact 155 77 155 77 1 Vdd!
rlabel pdcontact 155 133 155 133 5 Vdd!
rlabel pdcontact 155 119 155 119 1 x
rlabel pdcontact 155 91 155 91 1 x
rlabel pdcontact 155 105 155 105 1 Vdd!
rlabel ndcontact 139 105 139 105 1 GND!
rlabel ndcontact 139 91 139 91 1 x
rlabel ndcontact 139 119 139 119 1 x
rlabel ndcontact 139 77 139 77 1 GND!
rlabel ndcontact 139 133 139 133 5 GND!
rlabel ndcontact 120 99 120 99 1 GND!
rlabel ndcontact 120 119 120 119 1 x
rlabel ndcontact 119 139 119 139 5 GND!
<< end >>

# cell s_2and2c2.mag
magic
tech scmos
<< ndiffusion >>
rect -45 128 -44 131
rect -45 127 -40 128
rect -36 127 -31 128
rect -45 121 -40 125
rect -36 121 -31 125
rect -45 115 -40 119
rect -36 115 -31 119
rect -45 109 -40 113
rect -36 109 -31 113
rect -45 106 -40 107
rect -36 106 -31 107
rect -32 103 -31 106
<< pdiffusion >>
rect -19 130 -9 131
rect -19 127 -9 128
rect -19 122 -9 123
rect -19 119 -9 120
rect -15 115 -9 119
rect -19 114 -9 115
rect -19 111 -9 112
rect -19 106 -9 107
rect -19 103 -9 104
<< ntransistor >>
rect -45 125 -40 127
rect -36 125 -31 127
rect -45 119 -40 121
rect -36 119 -31 121
rect -45 113 -40 115
rect -36 113 -31 115
rect -45 107 -40 109
rect -36 107 -31 109
<< ptransistor >>
rect -19 128 -9 130
rect -19 120 -9 122
rect -19 112 -9 114
rect -19 104 -9 106
<< polysilicon >>
rect -23 128 -19 130
rect -9 128 -6 130
rect -23 127 -21 128
rect -48 125 -45 127
rect -40 125 -36 127
rect -31 125 -21 127
rect -23 121 -19 122
rect -48 119 -45 121
rect -40 119 -36 121
rect -31 120 -19 121
rect -9 120 -6 122
rect -31 119 -21 120
rect -48 113 -45 115
rect -40 113 -36 115
rect -31 114 -21 115
rect -31 113 -19 114
rect -23 112 -19 113
rect -9 112 -6 114
rect -48 107 -45 109
rect -40 107 -36 109
rect -31 107 -21 109
rect -23 106 -21 107
rect -23 104 -19 106
rect -9 104 -6 106
<< ndcontact >>
rect -44 128 -40 132
rect -36 128 -31 132
rect -45 102 -40 106
rect -36 102 -32 106
<< pdcontact >>
rect -19 131 -9 135
rect -19 123 -9 127
rect -19 115 -15 119
rect -19 107 -9 111
rect -19 99 -9 103
<< metal1 >>
rect -44 128 -40 132
rect -36 128 -31 132
rect -19 131 -9 135
rect -43 118 -40 128
rect -19 123 -9 127
rect -19 118 -15 119
rect -43 115 -15 118
rect -36 106 -33 115
rect -12 111 -9 123
rect -19 107 -9 111
rect -45 102 -40 106
rect -36 102 -32 106
rect -19 99 -9 103
<< labels >>
rlabel polysilicon -8 113 -8 113 7 _a0
rlabel polysilicon -8 121 -8 121 7 _a1
rlabel polysilicon -8 105 -8 105 7 _b0
rlabel polysilicon -8 129 -8 129 7 _b1
rlabel polysilicon -46 108 -46 108 7 _b0
rlabel polysilicon -46 114 -46 114 7 _a0
rlabel polysilicon -46 120 -46 120 7 _a1
rlabel polysilicon -46 126 -46 126 7 _b1
rlabel space -49 102 -45 131 7 ^n
rlabel space -50 101 -32 136 7 ^n
rlabel space -16 98 -5 136 3 ^p
rlabel pdcontact -14 133 -14 133 5 Vdd!
rlabel pdcontact -14 101 -14 101 5 Vdd!
rlabel ndcontact -34 104 -34 104 1 x
rlabel ndcontact -42 130 -42 130 5 x
rlabel ndcontact -43 104 -43 104 2 GND!
rlabel pdcontact -18 117 -18 117 1 x
rlabel ndcontact -34 130 -34 130 6 GND!
<< end >>

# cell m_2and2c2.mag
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
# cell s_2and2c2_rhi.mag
magic
tech scmos
<< ndiffusion >>
rect -39 133 -34 134
rect -49 128 -48 131
rect -49 127 -44 128
rect -39 127 -34 131
rect -49 121 -44 125
rect -39 121 -34 125
rect 13 122 16 124
rect -49 115 -44 119
rect -39 115 -34 119
rect 13 116 16 120
rect -49 109 -44 113
rect -39 109 -34 113
rect 13 109 16 111
rect -49 103 -44 107
rect -39 106 -34 107
rect -35 103 -34 106
rect 12 104 16 105
rect 12 101 16 102
rect -49 100 -44 101
<< pdiffusion >>
rect -18 127 -8 128
rect -18 124 -8 125
rect 30 122 33 124
rect -18 119 -8 120
rect -18 116 -8 117
rect 30 118 33 120
rect -14 112 -8 116
rect -18 111 -8 112
rect 28 113 36 114
rect -18 108 -8 109
rect 28 110 36 111
rect 28 107 30 110
rect -18 103 -8 104
rect 34 107 36 110
rect 30 104 34 105
rect -18 100 -8 101
rect 30 101 34 102
<< ntransistor >>
rect -39 131 -34 133
rect -49 125 -44 127
rect -39 125 -34 127
rect -49 119 -44 121
rect -39 119 -34 121
rect 13 120 16 122
rect -49 113 -44 115
rect -39 113 -34 115
rect 13 111 16 116
rect -49 107 -44 109
rect -39 107 -34 109
rect -49 101 -44 103
rect 12 102 16 104
<< ptransistor >>
rect -18 125 -8 127
rect 30 120 33 122
rect -18 117 -8 119
rect 28 111 36 113
rect -18 109 -8 111
rect -18 101 -8 103
rect 30 102 34 104
<< polysilicon >>
rect -42 131 -39 133
rect -34 131 -31 133
rect -52 125 -49 127
rect -44 125 -39 127
rect -34 125 -18 127
rect -8 125 -5 127
rect -52 119 -49 121
rect -44 119 -39 121
rect -34 119 -20 121
rect 10 120 13 122
rect 16 120 30 122
rect 33 120 44 122
rect -22 117 -18 119
rect -8 117 -5 119
rect -52 113 -49 115
rect -44 113 -39 115
rect -34 113 -25 115
rect -27 111 -25 113
rect 10 111 13 116
rect 16 113 19 116
rect 16 111 28 113
rect 36 111 39 113
rect -27 109 -18 111
rect -8 109 -5 111
rect -52 107 -49 109
rect -44 107 -39 109
rect -34 107 -30 109
rect -52 101 -49 103
rect -44 101 -41 103
rect -32 103 -30 107
rect -32 101 -18 103
rect -8 101 -5 103
rect 9 102 12 104
rect 16 103 22 104
rect 26 103 30 104
rect 16 102 30 103
rect 34 102 37 104
rect 42 101 44 120
<< ndcontact >>
rect -39 134 -34 138
rect -48 128 -44 132
rect 12 124 16 128
rect -39 102 -35 106
rect 12 105 16 109
rect -49 96 -44 100
rect 12 97 16 101
<< pdcontact >>
rect -18 128 -8 132
rect -18 120 -8 124
rect 30 124 34 128
rect -18 112 -14 116
rect 28 114 36 118
rect -18 104 -8 108
rect 30 105 34 110
rect -18 96 -8 100
rect 30 97 34 101
<< polycontact >>
rect 22 103 26 107
rect 41 97 45 101
<< metal1 >>
rect -39 134 -34 138
rect -48 128 -44 132
rect -18 128 -8 132
rect -47 115 -44 128
rect 12 127 16 128
rect 12 124 26 127
rect 30 124 34 128
rect -18 120 -8 124
rect -18 115 -14 116
rect -47 112 -14 115
rect -39 106 -36 112
rect -11 108 -8 120
rect 23 118 26 124
rect 23 114 36 118
rect -39 102 -35 106
rect -18 104 -8 108
rect 12 105 16 109
rect 23 107 26 114
rect 22 103 26 107
rect 30 105 34 110
rect 12 100 16 101
rect 30 100 34 101
rect 41 100 45 101
rect -49 96 -44 100
rect -18 96 -8 100
rect 12 97 45 100
<< labels >>
rlabel space -53 94 -35 139 7 ^n
rlabel space -53 95 -49 131 7 ^n
rlabel polysilicon -50 108 -50 108 7 _b0
rlabel polysilicon -50 114 -50 114 7 _a0
rlabel polysilicon -50 120 -50 120 7 _a1
rlabel polysilicon -50 126 -50 126 7 _b1
rlabel polysilicon -50 102 -50 102 1 _SReset!
rlabel polysilicon -33 132 -33 132 1 _SReset!
rlabel polysilicon -7 110 -7 110 7 _a0
rlabel polysilicon -7 118 -7 118 7 _a1
rlabel polysilicon -7 102 -7 102 7 _b0
rlabel polysilicon -7 126 -7 126 7 _b1
rlabel space -15 95 -4 129 3 ^p
rlabel polysilicon 12 112 12 112 1 _PReset!
rlabel ndcontact -37 104 -37 104 1 x
rlabel ndcontact -37 136 -37 136 6 GND!
rlabel ndcontact -46 130 -46 130 5 x
rlabel ndcontact -47 98 -47 98 2 GND!
rlabel pdcontact -13 98 -13 98 5 Vdd!
rlabel pdcontact -16 114 -16 114 1 x
rlabel pdcontact -15 130 -15 130 5 Vdd!
rlabel pdcontact 32 107 32 107 1 Vdd!
rlabel ndcontact 14 107 14 107 1 GND!
rlabel pdcontact 32 116 32 116 1 x
rlabel pdcontact 32 126 32 126 1 Vdd!
rlabel ndcontact 14 126 14 126 5 x
<< end >>

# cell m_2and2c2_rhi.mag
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
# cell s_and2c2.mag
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
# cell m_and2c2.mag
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
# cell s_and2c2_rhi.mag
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
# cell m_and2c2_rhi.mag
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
